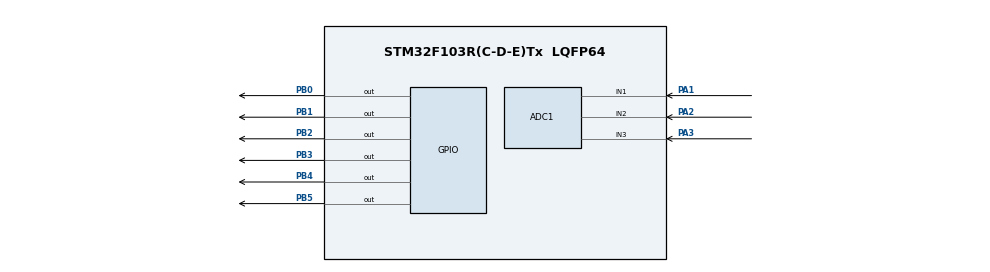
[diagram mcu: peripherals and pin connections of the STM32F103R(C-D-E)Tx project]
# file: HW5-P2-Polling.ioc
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ADC1.Channel-3\#ChannelRegularConversion=ADC_CHANNEL_1
ADC1.EnableAnalogWatchDog=false
ADC1.NbrOfConversion=1
ADC1.NbrOfConversionFlag=1
ADC1.Rank-3\#ChannelRegularConversion=1
ADC1.SamplingTime-3\#ChannelRegularConversion=ADC_SAMPLETIME_239CYCLES_5
ADC1.master=1
Mcu.Family=STM32F1
Mcu.Name=STM32F103R(C-D-E)Tx
Mcu.Package=LQFP64
NVIC.PriorityGroup=NVIC_PRIORITYGROUP_4
PA1.Signal=ADCx_IN1
PA13.Mode=Serial_Wire
PA13.Signal=SYS_JTMS-SWDIO
PA14.Mode=Serial_Wire
PA14.Signal=SYS_JTCK-SWCLK
PA2.Signal=ADCx_IN2
PA3.Signal=ADCx_IN3
PB0.Signal=GPIO_Output
PB1.Signal=GPIO_Output
PB2.Signal=GPIO_Output
PB3.Signal=GPIO_Output
PB4.Signal=GPIO_Output
PB5.Signal=GPIO_Output
PD0-OSC_IN.Mode=HSE-External-Oscillator
PD0-OSC_IN.Signal=RCC_OSC_IN
PD1-OSC_OUT.Mode=HSE-External-Oscillator
PD1-OSC_OUT.Signal=RCC_OSC_OUT
ProjectManager.HeapSize=0x200
ProjectManager.StackSize=0x400
ProjectManager.TargetToolchain=MDK-ARM V5.32
RCC.APB1Freq_Value=8000000
RCC.APB2Freq_Value=8000000
SH.ADCx_IN1.0=ADC1_IN1,IN1
SH.ADCx_IN2.0=ADC1_IN2,IN2
SH.ADCx_IN3.0=ADC1_IN3,IN3
board=custom

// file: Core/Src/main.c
/* USER CODE BEGIN Header */
/**
  ******************************************************************************
  * @file           : main.c
  * @brief          : Main program body
  ******************************************************************************
  * @attention
  *
  * Copyright (c) 2026 STMicroelectronics.
  * All rights reserved.
  *
  * This software is licensed under terms that can be found in the LICENSE file
  * in the root directory of this software component.
  * If no LICENSE file comes with this software, it is provided AS-IS.
  *
  ******************************************************************************
  */
/* USER CODE END Header */
#include "main.h"

/* USER CODE BEGIN Includes */
#include "lcd.h"
#include <stdio.h>
/* USER CODE END Includes */

/* USER CODE BEGIN PD */
#define ADC_SAMPLE_COUNT 50 // Number of samples for software averaging
/* USER CODE END PD */

ADC_HandleTypeDef hadc1;

/* USER CODE BEGIN PV */
Lcd_HandleTypeDef lcd;
char lcd_buffer[32];
/* USER CODE END PV */

void SystemClock_Config(void);
static void MX_GPIO_Init(void);
static void MX_ADC1_Init(void);
/* USER CODE BEGIN PFP */
void Measure_And_Display_ADC_Polling(uint32_t target_channel, const char* channel_name);
/* USER CODE END PFP */

/* USER CODE BEGIN 0 */
void Measure_And_Display_ADC_Polling(uint32_t target_channel, const char* channel_name)
{
    ADC_ChannelConfTypeDef adc_config = {0};
    uint32_t accumulated_samples = 0;
    uint16_t average_adc_value = 0;

    // Reset the internal routing mux to prevent cross-channel ghosting
    hadc1.Instance->SQR3 = 0;

    // Configure the active ADC channel
    adc_config.Channel = target_channel;
    adc_config.Rank = ADC_REGULAR_RANK_1;
    adc_config.SamplingTime = ADC_SAMPLETIME_239CYCLES_5;
    HAL_ADC_ConfigChannel(&hadc1, &adc_config);

    // Hardware stabilization delay for analog multiplexer
    HAL_Delay(5);

    // --- PIPELINE FLUSH (Dummy Read) ---
    // Forces the ADC to latch onto the new channel properly
    HAL_ADC_Start(&hadc1);
    HAL_ADC_PollForConversion(&hadc1, HAL_MAX_DELAY);
    HAL_ADC_GetValue(&hadc1);
    HAL_ADC_Stop(&hadc1);

    // Acquire samples for averaging
    for (uint8_t sample_idx = 0; sample_idx < ADC_SAMPLE_COUNT; sample_idx++)
    {
        HAL_ADC_Start(&hadc1);
        HAL_ADC_PollForConversion(&hadc1, HAL_MAX_DELAY);
        accumulated_samples += HAL_ADC_GetValue(&hadc1);
        HAL_ADC_Stop(&hadc1);
    }

    // Compute average
    average_adc_value = accumulated_samples / ADC_SAMPLE_COUNT;

    // High-precision voltage calculation in millivolts (3.3V -> 3300mV)
    uint32_t voltage_mv = (average_adc_value * 3300) / 4095;
    uint8_t display_volts = voltage_mv / 1000;
    uint8_t display_frac = (voltage_mv % 1000) / 10; // Extract 2 decimal places

    // Update LCD without Lcd_clear() to eliminate flickering.
    // The trailing spaces overwrite leftover characters from previous strings.
    snprintf(lcd_buffer, sizeof(lcd_buffer), "%s Volt: %d.%02d V  ", channel_name, display_volts, display_frac);
    Lcd_cursor(&lcd, 0, 0);
    Lcd_string(&lcd, lcd_buffer);

    // Use %4u to ensure the raw ADC value always takes up 4 character spaces
    snprintf(lcd_buffer, sizeof(lcd_buffer), "%s Mean: %4u    ", channel_name, average_adc_value);
    Lcd_cursor(&lcd, 1, 0);
    Lcd_string(&lcd, lcd_buffer);

    // Hold display for 1 second before multiplexing to the next channel
    HAL_Delay(1000);
}
/* USER CODE END 0 */

int main(void)
{

  /* MCU Configuration--------------------------------------------------------*/

  /* Reset of all peripherals, Initializes the Flash interface and the Systick. */
  HAL_Init();

  /* Configure the system clock */
  SystemClock_Config();

  /* Initialize all configured peripherals */
  MX_GPIO_Init();
  MX_ADC1_Init();
  /* USER CODE BEGIN 2 */
Lcd_PortType ports[] = { GPIOB, GPIOB, GPIOB, GPIOB };
  Lcd_PinType pins[] = {GPIO_PIN_0, GPIO_PIN_1, GPIO_PIN_2, GPIO_PIN_3};
  lcd = Lcd_create(ports, pins, GPIOB, GPIO_PIN_4, GPIOB, GPIO_PIN_5, LCD_4_BIT_MODE);
  // 2. THE ANALOG OVERRIDE
  // Executing this after MX_ADC1_Init() guarantees the pins stay analog
  // and prevents the multiplexer from reading digital floating noise.
  GPIO_InitTypeDef GPIO_InitStruct = {0};
  GPIO_InitStruct.Pin = GPIO_PIN_1 | GPIO_PIN_2 | GPIO_PIN_3;
  GPIO_InitStruct.Mode = GPIO_MODE_ANALOG;
  GPIO_InitStruct.Pull = GPIO_NOPULL;
  HAL_GPIO_Init(GPIOA, &GPIO_InitStruct);

  // 3. Calibrate ADC
  HAL_ADCEx_Calibration_Start(&hadc1);
	/* USER CODE END 2 */

  /* Infinite loop */
  while (1)
  {

    /* USER CODE BEGIN 3 */
		// Sequentially sample and display each channel
    Measure_And_Display_ADC_Polling(ADC_CHANNEL_1, "CH1");
    Measure_And_Display_ADC_Polling(ADC_CHANNEL_2, "CH2");
    Measure_And_Display_ADC_Polling(ADC_CHANNEL_3, "CH3");
  }
  /* USER CODE END 3 */
}

void SystemClock_Config(void)
{
  RCC_OscInitTypeDef RCC_OscInitStruct = {0};
  RCC_ClkInitTypeDef RCC_ClkInitStruct = {0};
  RCC_PeriphCLKInitTypeDef PeriphClkInit = {0};

  /** Initializes the RCC Oscillators according to the specified parameters
  * in the RCC_OscInitTypeDef structure.
  */
  RCC_OscInitStruct.OscillatorType = RCC_OSCILLATORTYPE_HSI;
  RCC_OscInitStruct.HSIState = RCC_HSI_ON;
  RCC_OscInitStruct.HSICalibrationValue = RCC_HSICALIBRATION_DEFAULT;
  RCC_OscInitStruct.PLL.PLLState = RCC_PLL_NONE;
  if (HAL_RCC_OscConfig(&RCC_OscInitStruct) != HAL_OK)
  {
    Error_Handler();
  }

  /** Initializes the CPU, AHB and APB buses clocks
  */
  RCC_ClkInitStruct.ClockType = RCC_CLOCKTYPE_HCLK|RCC_CLOCKTYPE_SYSCLK
                              |RCC_CLOCKTYPE_PCLK1|RCC_CLOCKTYPE_PCLK2;
  RCC_ClkInitStruct.SYSCLKSource = RCC_SYSCLKSOURCE_HSI;
  RCC_ClkInitStruct.AHBCLKDivider = RCC_SYSCLK_DIV1;
  RCC_ClkInitStruct.APB1CLKDivider = RCC_HCLK_DIV1;
  RCC_ClkInitStruct.APB2CLKDivider = RCC_HCLK_DIV1;

  if (HAL_RCC_ClockConfig(&RCC_ClkInitStruct, FLASH_LATENCY_0) != HAL_OK)
  {
    Error_Handler();
  }
  PeriphClkInit.PeriphClockSelection = RCC_PERIPHCLK_ADC;
  PeriphClkInit.AdcClockSelection = RCC_ADCPCLK2_DIV2;
  if (HAL_RCCEx_PeriphCLKConfig(&PeriphClkInit) != HAL_OK)
  {
    Error_Handler();
  }
}

static void MX_ADC1_Init(void)
{

  ADC_ChannelConfTypeDef sConfig = {0};

  /** Common config
  */
  hadc1.Instance = ADC1;
  hadc1.Init.ScanConvMode = ADC_SCAN_DISABLE;
  hadc1.Init.ContinuousConvMode = DISABLE;
  hadc1.Init.DiscontinuousConvMode = DISABLE;
  hadc1.Init.ExternalTrigConv = ADC_SOFTWARE_START;
  hadc1.Init.DataAlign = ADC_DATAALIGN_RIGHT;
  hadc1.Init.NbrOfConversion = 1;
  if (HAL_ADC_Init(&hadc1) != HAL_OK)
  {
    Error_Handler();
  }

  /** Configure Regular Channel
  */
  sConfig.Channel = ADC_CHANNEL_1;
  sConfig.Rank = ADC_REGULAR_RANK_1;
  sConfig.SamplingTime = ADC_SAMPLETIME_239CYCLES_5;
  if (HAL_ADC_ConfigChannel(&hadc1, &sConfig) != HAL_OK)
  {
    Error_Handler();
  }

}

static void MX_GPIO_Init(void)
{
  GPIO_InitTypeDef GPIO_InitStruct = {0};

  /* GPIO Ports Clock Enable */
  __HAL_RCC_GPIOD_CLK_ENABLE();
  __HAL_RCC_GPIOA_CLK_ENABLE();
  __HAL_RCC_GPIOB_CLK_ENABLE();

  /*Configure GPIO pin Output Level */
  HAL_GPIO_WritePin(GPIOB, GPIO_PIN_0|GPIO_PIN_1|GPIO_PIN_2|GPIO_PIN_3
                          |GPIO_PIN_4|GPIO_PIN_5, GPIO_PIN_RESET);

  /*Configure GPIO pins : PB0 PB1 PB2 PB3
                           PB4 PB5 */
  GPIO_InitStruct.Pin = GPIO_PIN_0|GPIO_PIN_1|GPIO_PIN_2|GPIO_PIN_3
                          |GPIO_PIN_4|GPIO_PIN_5;
  GPIO_InitStruct.Mode = GPIO_MODE_OUTPUT_PP;
  GPIO_InitStruct.Pull = GPIO_NOPULL;
  GPIO_InitStruct.Speed = GPIO_SPEED_FREQ_LOW;
  HAL_GPIO_Init(GPIOB, &GPIO_InitStruct);

}

void Error_Handler(void)
{
  __disable_irq();
  while (1)
  {
  }
}
